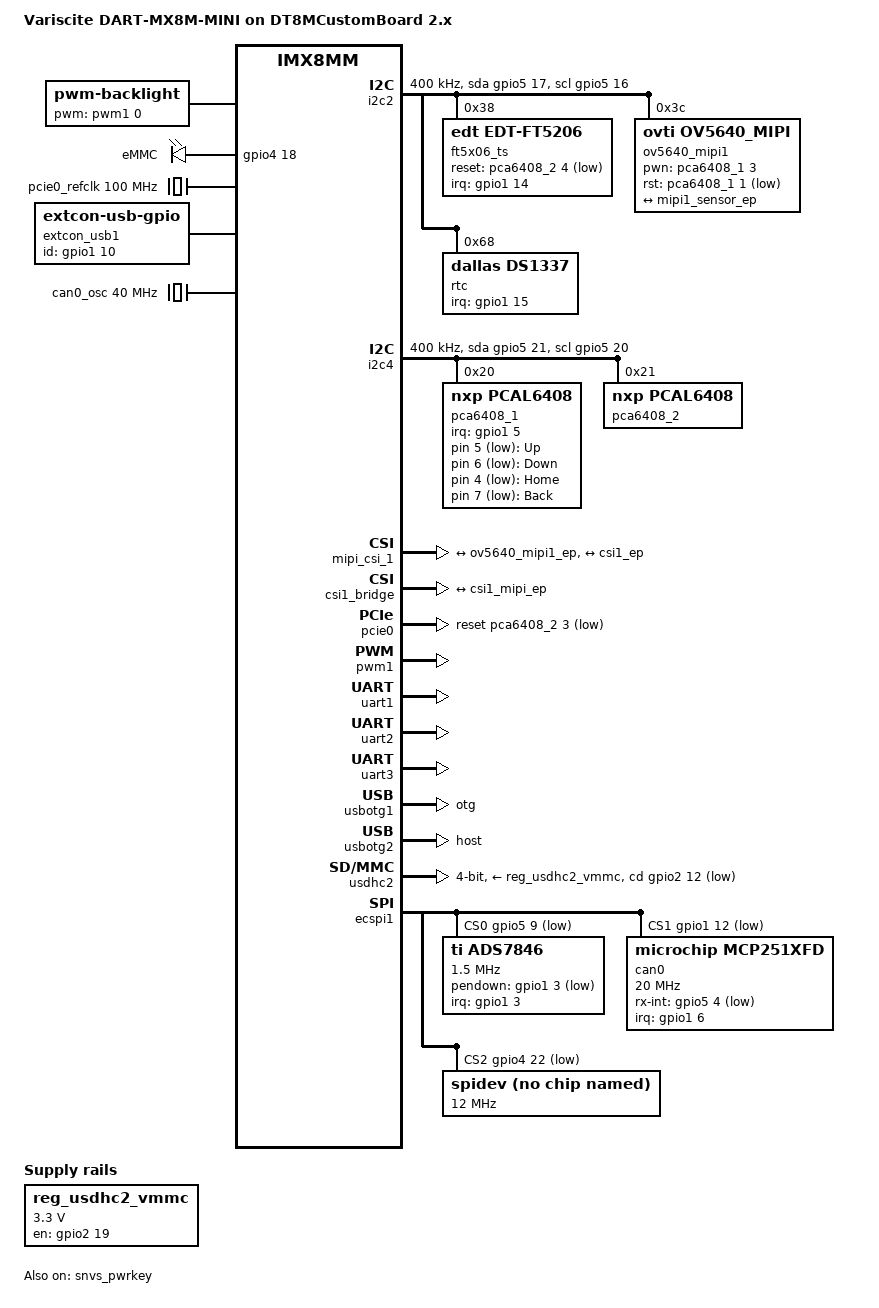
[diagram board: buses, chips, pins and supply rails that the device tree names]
// SPDX-License-Identifier: (GPL-2.0+ OR MIT)
/*
 * Copyright 2019 NXP
 * Copyright 2019-2021 Variscite Ltd.
 */

#include "imx8mm-var-dart.dtsi"

/ {
	model = "Variscite DART-MX8M-MINI on DT8MCustomBoard 2.x";

	chosen {
		stdout-path = &uart1;
	};

	backlight: backlight {
		compatible = "pwm-backlight";
		pwms = <&pwm1 0 1000000 0>;
		brightness-levels = < 0  1  2  3  4  5  6  7  8  9
				     10 11 12 13 14 15 16 17 18 19
				     20 21 22 23 24 25 26 27 28 29
				     30 31 32 33 34 35 36 37 38 39
				     40 41 42 43 44 45 46 47 48 49
				     50 51 52 53 54 55 56 57 58 59
				     60 61 62 63 64 65 66 67 68 69
				     70 71 72 73 74 75 76 77 78 79
				     80 81 82 83 84 85 86 87 88 89
				     90 91 92 93 94 95 96 97 98 99
				    100>;
		default-brightness-level = <80>;
		status = "okay";
	};

	gpio-keys {
		compatible = "gpio-keys";
		status = "okay";

		up {
			label = "Up";
			gpios = <&pca6408_1 5 GPIO_ACTIVE_LOW>;
			linux,code = <KEY_UP>;
			wakeup-source;
		};

		down {
			label = "Down";
			gpios = <&pca6408_1 6 GPIO_ACTIVE_LOW>;
			linux,code = <KEY_DOWN>;
			wakeup-source;
		};

		home {
			label = "Home";
			gpios = <&pca6408_1 4 GPIO_ACTIVE_LOW>;
			linux,code = <KEY_HOME>;
			wakeup-source;
		};

		back {
			label = "Back";
			gpios = <&pca6408_1 7 GPIO_ACTIVE_LOW>;
			linux,code = <KEY_BACK>;
			wakeup-source;
		};
	};

	gpio-leds {
		compatible = "gpio-leds";
		pinctrl-names = "default";
		pinctrl-0 = <&pinctrl_leds>;
		status = "okay";

		emmc {
			label = "eMMC";
			gpios = <&gpio4 18 GPIO_ACTIVE_HIGH>;
			linux,default-trigger = "mmc2";
		};
	};

	pcie0_refclk: pcie0-refclk {
		compatible = "fixed-clock";
		#clock-cells = <0>;
		clock-frequency = <100000000>;
	};

	reg_usdhc2_vmmc: regulator-usdhc2 {
		compatible = "regulator-fixed";
		pinctrl-names = "default";
		pinctrl-0 = <&pinctrl_reg_usdhc2_vmmc>;
		regulator-name = "VSD_3V3";
		regulator-min-microvolt = <3300000>;
		regulator-max-microvolt = <3300000>;
		gpio = <&gpio2 19 GPIO_ACTIVE_HIGH>;
		off-on-delay = <20000>;
		enable-active-high;
	};

	extcon_usb1: extcon_usb1 {
		compatible = "linux,extcon-usb-gpio";
		pinctrl-names = "default";
		pinctrl-0 = <&pinctrl_extcon>;
		id-gpio = <&gpio1 10 GPIO_ACTIVE_HIGH>;
		status = "okay";
	};

	can0_osc: can0_osc {
		compatible = "fixed-clock";
		#clock-cells = <0>;
		clock-frequency = <40000000>;
	};
};

&i2c2 {
	clock-frequency = <400000>;
	pinctrl-names = "default", "gpio";
	pinctrl-0 = <&pinctrl_i2c2>;
	pinctrl-1 = <&pinctrl_i2c2_gpio>;
	scl-gpios = <&gpio5 16 GPIO_ACTIVE_HIGH>;
	sda-gpios = <&gpio5 17 GPIO_ACTIVE_HIGH>;
	status = "okay";

	/* Capacitive touch controller */
	ft5x06_ts: ft5x06_ts@38 {
		compatible = "edt,edt-ft5206";
		reg = <0x38>;
		pinctrl-names = "default";
		pinctrl-0 = <&pinctrl_captouch>;
		reset-gpios = <&pca6408_2 4 GPIO_ACTIVE_LOW>;
		interrupt-parent = <&gpio1>;
		interrupts = <14 IRQ_TYPE_EDGE_FALLING>;
		touchscreen-size-x = <800>;
		touchscreen-size-y = <480>;
		touchscreen-inverted-x;
		touchscreen-inverted-y;
		wakeup-source;
		status = "okay";
	};

	ov5640_mipi1: ov5640_mipi1@3c {
		compatible = "ovti,ov5640_mipi";
		reg = <0x3c>;
		clocks = <&clk IMX8MM_CLK_CLKO1>;
		clock-names = "csi_mclk";
/* Disabled CLKO2, since DART-MX8M-MINI camera expansion board uses
 * its own oscillator. Enable CLK02 if your design requires it
 */
#if 0
		assigned-clocks = <&clk IMX8MM_CLK_CLKO1>;
		assigned-clock-parents = <&clk IMX8MM_CLK_24M>;
		assigned-clock-rates = <24000000>;
#endif
		csi_id = <0>;
		pwn-gpios = <&pca6408_1 3 GPIO_ACTIVE_HIGH>;
		rst-gpios = <&pca6408_1 1 GPIO_ACTIVE_LOW>;
		mclk = <24000000>;
		mclk_source = <0>;
		status = "okay";

		port {
			ov5640_mipi1_ep: endpoint {
				remote-endpoint = <&mipi1_sensor_ep>;
			};
		};
	};

	/* DS1337 RTC module */
	rtc@68 {
		compatible = "dallas,ds1337";
		reg = <0x68>;
		pinctrl-names = "default";
		pinctrl-0 = <&pinctrl_rtc>;
		interrupt-parent = <&gpio1>;
		interrupts = <15 IRQ_TYPE_EDGE_FALLING>;
		wakeup-source;
		status = "okay";
	};
};

&i2c4 {
	clock-frequency = <400000>;
	pinctrl-names = "default", "gpio";
	pinctrl-0 = <&pinctrl_i2c4>;
	pinctrl-1 = <&pinctrl_i2c4_gpio>;
	scl-gpios = <&gpio5 20 GPIO_ACTIVE_HIGH>;
	sda-gpios = <&gpio5 21 GPIO_ACTIVE_HIGH>;
	status = "okay";

	pca6408_1: gpio@20 {
		compatible = "nxp,pcal6408";
		standard-regs-fallback;
		reg = <0x20>;
		gpio-controller;
		#gpio-cells = <2>;
		pinctrl-names = "default";
		pinctrl-0 = <&pinctrl_pca6408>;
		interrupt-parent = <&gpio1>;
		interrupts = <5 IRQ_TYPE_EDGE_FALLING>;
	};

	pca6408_2: gpio@21 {
		compatible = "nxp,pcal6408";
		standard-regs-fallback;
		reg = <0x21>;
		gpio-controller;
		#gpio-cells = <2>;
	};
};

&mipi_csi_1 {
	#address-cells = <1>;
	#size-cells = <0>;
	status = "okay";

	port {
		mipi1_sensor_ep: endpoint@1 {
			remote-endpoint = <&ov5640_mipi1_ep>;
			data-lanes = <2>;
			csis-hs-settle = <13>;
			csis-clk-settle = <2>;
			csis-wclk;
		};

		csi1_mipi_ep: endpoint@2 {
			remote-endpoint = <&csi1_ep>;
		};
	};
};

&csi1_bridge {
	fsl,mipi-mode;
	status = "okay";

	port {
		csi1_ep: endpoint {
			remote-endpoint = <&csi1_mipi_ep>;
		};
	};
};

&pcie0 {
	reset-gpio = <&pca6408_2 3 GPIO_ACTIVE_LOW>;
	clocks = <&clk IMX8MM_CLK_PCIE1_ROOT>,
		 <&clk IMX8MM_CLK_PCIE1_AUX>,
		 <&clk IMX8MM_CLK_PCIE1_PHY>,
		 <&pcie0_refclk>;
	clock-names = "pcie", "pcie_aux", "pcie_phy", "pcie_bus";
	assigned-clocks = <&clk IMX8MM_CLK_PCIE1_AUX>,
			  <&clk IMX8MM_CLK_PCIE1_PHY>,
			  <&clk IMX8MM_CLK_PCIE1_CTRL>;
	assigned-clock-rates = <10000000>, <100000000>, <250000000>;
	assigned-clock-parents = <&clk IMX8MM_SYS_PLL2_50M>,
				 <&clk IMX8MM_SYS_PLL2_100M>,
				 <&clk IMX8MM_SYS_PLL2_250M>;
	ext_osc = <1>;
	l1ss-disabled;
	status = "okay";
};

&pcie0_ep {
	clocks = <&clk IMX8MM_CLK_PCIE1_ROOT>,
		 <&clk IMX8MM_CLK_PCIE1_AUX>,
		 <&clk IMX8MM_CLK_PCIE1_PHY>,
		 <&pcie0_refclk>;
	clock-names = "pcie", "pcie_aux", "pcie_phy", "pcie_bus";
	assigned-clocks = <&clk IMX8MM_CLK_PCIE1_AUX>,
			  <&clk IMX8MM_CLK_PCIE1_PHY>,
			  <&clk IMX8MM_CLK_PCIE1_CTRL>;
	assigned-clock-rates = <10000000>, <100000000>, <250000000>;
	assigned-clock-parents = <&clk IMX8MM_SYS_PLL2_50M>,
				 <&clk IMX8MM_SYS_PLL2_100M>,
				 <&clk IMX8MM_SYS_PLL2_250M>;
	ext_osc = <1>;
	status = "disabled";
};

&pwm1 {
	pinctrl-names = "default";
	pinctrl-0 = <&pinctrl_pwm1>;
	status = "okay";
};

/* Console */
&uart1 {
	pinctrl-names = "default";
	pinctrl-0 = <&pinctrl_uart1>;
	status = "okay";
};

/* Header */
&uart2 {
	pinctrl-names = "default";
	pinctrl-0 = <&pinctrl_uart2>;
	status = "okay";
};

/* Header */
&uart3 {
	pinctrl-names = "default";
	pinctrl-0 = <&pinctrl_uart3>;
	status = "okay";
};

&usbotg1 {
	dr_mode = "otg";
	picophy,pre-emp-curr-control = <3>;
	picophy,dc-vol-level-adjust = <7>;
	extcon = <0>,<&extcon_usb1>;
	hnp-disable;
	srp-disable;
	adp-disable;
	status = "okay";
};

&usbotg2 {
	dr_mode = "host";
	picophy,pre-emp-curr-control = <3>;
	picophy,dc-vol-level-adjust = <7>;
	status = "okay";
};

/* SD */
&usdhc2 {
	pinctrl-names = "default", "state_100mhz", "state_200mhz";
	pinctrl-0 = <&pinctrl_usdhc2>, <&pinctrl_usdhc2_gpio>;
	pinctrl-1 = <&pinctrl_usdhc2_100mhz>, <&pinctrl_usdhc2_gpio>;
	pinctrl-2 = <&pinctrl_usdhc2_200mhz>, <&pinctrl_usdhc2_gpio>;
	cd-gpios = <&gpio2 12 GPIO_ACTIVE_LOW>;
	bus-width = <4>;
	vmmc-supply = <&reg_usdhc2_vmmc>;
	status = "okay";
};

&ecspi1 {
	pinctrl-names = "default";
	pinctrl-0 = <&pinctrl_ecspi1>;
	cs-gpios = <&gpio5  9 GPIO_ACTIVE_LOW>,
		   <&gpio1 12 GPIO_ACTIVE_LOW>,
		   <&gpio4 22 GPIO_ACTIVE_LOW>;
	status = "okay";

	/* Resistive touch controller */
	ads7846@0 {
		reg = <0>;
		compatible = "ti,ads7846";
		pinctrl-names = "default";
		pinctrl-0 = <&pinctrl_restouch>;
		interrupt-parent = <&gpio1>;
		interrupts = <3 IRQ_TYPE_EDGE_FALLING>;
		spi-max-frequency = <1500000>;
		pendown-gpio = <&gpio1 3 GPIO_ACTIVE_LOW>;
		ti,x-min = /bits/ 16 <125>;
		ti,x-max = /bits/ 16 <4008>;
		ti,y-min = /bits/ 16 <282>;
		ti,y-max = /bits/ 16 <3864>;
		ti,x-plate-ohms = /bits/ 16 <180>;
		ti,pressure-max = /bits/ 16 <255>;
		ti,debounce-max = /bits/ 16 <10>;
		ti,debounce-tol = /bits/ 16 <3>;
		ti,debounce-rep = /bits/ 16 <1>;
		ti,settle-delay-usec = /bits/ 16 <150>;
		ti,keep-vref-on;
		wakeup-source;
		status = "okay";
	};

	/* CAN controller */
	can0: can@1 {
		compatible = "microchip,mcp251xfd";
		reg = <1>;
		pinctrl-names = "default";
		pinctrl-0 = <&pinctrl_can>;
		clocks = <&can0_osc>;
		interrupt-parent = <&gpio1>;
		interrupts = <6 IRQ_TYPE_EDGE_FALLING>;
		microchip,rx-int-gpios = <&gpio5 4 GPIO_ACTIVE_LOW>;
		spi-max-frequency = <20000000>;
		status = "okay";
	};

	/* Test SPI device */
	spidev@2 {
		reg = <2>;
		compatible = "var,spidev";
		spi-max-frequency = <12000000>;
		status = "okay";
	};
};

&snvs_pwrkey {
	status = "okay";
};

&snvs_rtc {
	status = "disabled";
};

&iomuxc {
	pinctrl_i2c2: i2c2grp {
		fsl,pins = <
			MX8MM_IOMUXC_I2C2_SCL_I2C2_SCL			0x400001c3
			MX8MM_IOMUXC_I2C2_SDA_I2C2_SDA			0x400001c3
		>;
	};

	pinctrl_i2c2_gpio: i2c2grp-gpio {
		fsl,pins = <
			MX8MM_IOMUXC_I2C2_SCL_GPIO5_IO16		0x1c3
			MX8MM_IOMUXC_I2C2_SDA_GPIO5_IO17		0x1c3
		>;
	};

	pinctrl_i2c4: i2c4grp {
		fsl,pins = <
			MX8MM_IOMUXC_I2C4_SCL_I2C4_SCL			0x400001c3
			MX8MM_IOMUXC_I2C4_SDA_I2C4_SDA			0x400001c3
		>;
	};

	pinctrl_i2c4_gpio: i2c4grp-gpio {
		fsl,pins = <
			MX8MM_IOMUXC_I2C4_SCL_GPIO5_IO20		0x1c3
			MX8MM_IOMUXC_I2C4_SDA_GPIO5_IO21		0x1c3
		>;
	};

	pinctrl_uart1: uart1grp {
		fsl,pins = <
			MX8MM_IOMUXC_UART1_RXD_UART1_DCE_RX		0x140
			MX8MM_IOMUXC_UART1_TXD_UART1_DCE_TX		0x140
		>;
	};

	pinctrl_uart2: uart2grp {
		fsl,pins = <
			MX8MM_IOMUXC_UART2_RXD_UART2_DCE_RX		0x140
			MX8MM_IOMUXC_UART2_TXD_UART2_DCE_TX		0x140
		>;
	};

	pinctrl_uart3: uart3grp {
		fsl,pins = <
			MX8MM_IOMUXC_UART3_RXD_UART3_DCE_RX		0x140
			MX8MM_IOMUXC_UART3_TXD_UART3_DCE_TX		0x140
		>;
	};

	pinctrl_reg_usdhc2_vmmc: regusdhc2vmmc {
		fsl,pins = <
			MX8MM_IOMUXC_SD2_RESET_B_GPIO2_IO19		0xc1
		>;
	};

	pinctrl_usdhc2_gpio: usdhc2grpgpio {
		fsl,pins = <
			MX8MM_IOMUXC_SD2_CD_B_GPIO2_IO12		0xc1
		>;
	};

	pinctrl_usdhc2: usdhc2grp {
		fsl,pins = <
			MX8MM_IOMUXC_SD2_CLK_USDHC2_CLK			0x190
			MX8MM_IOMUXC_SD2_CMD_USDHC2_CMD			0x1d0
			MX8MM_IOMUXC_SD2_DATA0_USDHC2_DATA0		0x1d0
			MX8MM_IOMUXC_SD2_DATA1_USDHC2_DATA1		0x1d0
			MX8MM_IOMUXC_SD2_DATA2_USDHC2_DATA2		0x1d0
			MX8MM_IOMUXC_SD2_DATA3_USDHC2_DATA3		0x1d0
			MX8MM_IOMUXC_GPIO1_IO04_USDHC2_VSELECT		0x1d0
		>;
	};

	pinctrl_usdhc2_100mhz: usdhc2grp100mhz {
		fsl,pins = <
			MX8MM_IOMUXC_SD2_CLK_USDHC2_CLK			0x194
			MX8MM_IOMUXC_SD2_CMD_USDHC2_CMD			0x1d4
			MX8MM_IOMUXC_SD2_DATA0_USDHC2_DATA0		0x1d4
			MX8MM_IOMUXC_SD2_DATA1_USDHC2_DATA1		0x1d4
			MX8MM_IOMUXC_SD2_DATA2_USDHC2_DATA2		0x1d4
			MX8MM_IOMUXC_SD2_DATA3_USDHC2_DATA3		0x1d4
			MX8MM_IOMUXC_GPIO1_IO04_USDHC2_VSELECT		0x1d0
		>;
	};

	pinctrl_usdhc2_200mhz: usdhc2grp200mhz {
		fsl,pins = <
			MX8MM_IOMUXC_SD2_CLK_USDHC2_CLK			0x196
			MX8MM_IOMUXC_SD2_CMD_USDHC2_CMD			0x1d6
			MX8MM_IOMUXC_SD2_DATA0_USDHC2_DATA0		0x1d6
			MX8MM_IOMUXC_SD2_DATA1_USDHC2_DATA1		0x1d6
			MX8MM_IOMUXC_SD2_DATA2_USDHC2_DATA2		0x1d6
			MX8MM_IOMUXC_SD2_DATA3_USDHC2_DATA3		0x1d6
			MX8MM_IOMUXC_GPIO1_IO04_USDHC2_VSELECT		0x1d0
		>;
	};

	pinctrl_pwm1: pwm1grp {
		fsl,pins = <
			MX8MM_IOMUXC_GPIO1_IO01_PWM1_OUT		0x06
		>;
	};

	pinctrl_captouch: captouchgrp {
		fsl,pins = <
			MX8MM_IOMUXC_GPIO1_IO14_GPIO1_IO14		0x16
		>;
	};

	pinctrl_extcon: extcongrp {
		fsl,pins = <
			MX8MM_IOMUXC_GPIO1_IO10_GPIO1_IO10		0x19
		>;
	};

	pinctrl_ecspi1: ecspi1grp {
		fsl,pins = <
			MX8MM_IOMUXC_ECSPI1_SCLK_ECSPI1_SCLK		0x13
			MX8MM_IOMUXC_ECSPI1_MOSI_ECSPI1_MOSI		0x13
			MX8MM_IOMUXC_ECSPI1_MISO_ECSPI1_MISO		0x13
			MX8MM_IOMUXC_ECSPI1_SS0_GPIO5_IO9		0x13
			MX8MM_IOMUXC_GPIO1_IO12_GPIO1_IO12		0x13
			MX8MM_IOMUXC_SAI2_RXC_GPIO4_IO22		0x13
		>;
	};

	pinctrl_restouch: restouchgrp {
		fsl,pins = <
			MX8MM_IOMUXC_GPIO1_IO03_GPIO1_IO3		0x1c0
		>;
	};

	pinctrl_can: cangrp {
		fsl,pins = <
			MX8MM_IOMUXC_GPIO1_IO06_GPIO1_IO6		0x16
			MX8MM_IOMUXC_SPDIF_RX_GPIO5_IO4			0x16
		>;
	};

	pinctrl_leds: ledgrp {
		fsl,pins = <
			MX8MM_IOMUXC_SAI1_TXD6_GPIO4_IO18		0x1c6
		>;
	};

	pinctrl_pca6408: pca6408grp {
		fsl,pins = <
			MX8MM_IOMUXC_GPIO1_IO05_GPIO1_IO5		0x1c6
		>;
	};

	pinctrl_rtc: rtcgrp {
		fsl,pins = <
			MX8MM_IOMUXC_GPIO1_IO15_GPIO1_IO15		0x1c1
		>;
	};
};
